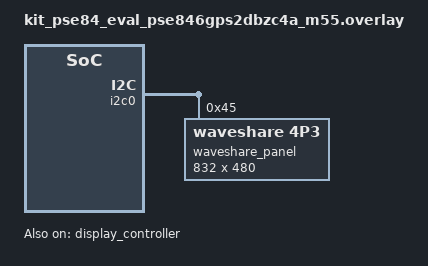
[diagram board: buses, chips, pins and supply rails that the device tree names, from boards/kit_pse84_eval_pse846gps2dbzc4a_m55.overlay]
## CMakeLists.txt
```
# SPDX-License-Identifier: Apache-2.0
#
# PSOC Edge E84 display smoke-test / LVGL demo - DevCon 2026 training branch.
#
# Build against the devcon-training-2026 mainline-based Zephyr branch
# (ClarkJ-Infineon/zephyr, or the devcon-training-2026 west manifest repo
# once published):
#
#   west build -b kit_pse84_eval/pse846gps2dbzc4a/m55 -p always -s <path-to-this-dir>
#
# See ../../README.md for the lab layout and
# outputs/zephyr/engineering/devcon-training-branch/plan.md for the full
# background on why this app exists (E84 display driver port).

cmake_minimum_required(VERSION 3.20.0)

find_package(Zephyr REQUIRED HINTS $ENV{ZEPHYR_BASE})
project(e84_display_lab)

target_sources(app PRIVATE src/main.c)
```

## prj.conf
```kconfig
# PSOC Edge E84 display smoke-test / LVGL demo - DevCon 2026 training branch.
#
# The infineon_dc display driver only supports whole-frame flushes (it swaps
# the entire frame buffer pointer rather than copying partial rects), so LVGL
# must be forced into full-refresh rendering mode - CONFIG_LV_Z_FULL_REFRESH
# below, not the Zephyr LVGL default (partial refresh). See
# modules/lvgl/Kconfig.memory for the choice and modules/lvgl/lvgl.c for how
# it maps to LV_DISPLAY_RENDER_MODE_FULL.
#
# Color depth is set to match the display_controller's input-pixel-format
# (PANEL_PIXEL_FORMAT_RGB_565) in the board overlay, avoiding an implicit
# LVGL-side conversion on every flush.
#
# A full-frame RGB565 buffer at 832x480 is ~781 KB, which does not fit in
# the M55 core's system RAM region. Placing it in the "GFX_MEMORY"
# zephyr,memory-region (the gfx_mem node the board overlay adds in SOCMEM)
# avoids the RAM overflow and matches what the DC hardware expects to read
# the framebuffer from anyway.

CONFIG_LV_Z_VDB_ZEPHYR_REGION=y
CONFIG_LV_Z_VDB_ZEPHYR_REGION_NAME="GFX_MEMORY"

# Two rendering buffers, not one. ifx_dc_write() does not copy pixels - it
# points the display controller straight at the buffer LVGL hands it
# (Cy_GFXSS_Set_FrameBuffer). With a single buffer that is the same memory the
# panel is actively scanning out, so LVGL's next full redraw repaints the
# screen underneath the scan and every element flickers once per update, even
# ones whose content did not change. Double buffering lets LVGL render into the
# idle buffer and the driver swap the pointer on flush, which is the model this
# hardware is built around. Costs a second 832x480x2 = 780 KB buffer, taking
# GFX_MEMORY to about 76% of its 2 MB.
CONFIG_LV_Z_DOUBLE_VDB=y

CONFIG_DISPLAY=y
CONFIG_DISPLAY_LOG_LEVEL_ERR=y

CONFIG_LOG=y
# Immediate mode so the build-stamp banner (see src/main.c) can never be lost
# to a deferred log ring buffer that doesn't get serviced if something early
# in the display init path hangs.
CONFIG_LOG_MODE_IMMEDIATE=y

CONFIG_LVGL=y
CONFIG_LV_Z_FULL_REFRESH=y
CONFIG_LV_COLOR_DEPTH_16=y
CONFIG_LV_Z_MEM_POOL_SIZE=16384
CONFIG_LV_USE_LOG=y
CONFIG_LV_USE_LABEL=y
CONFIG_LV_FONT_MONTSERRAT_14=y

CONFIG_MAIN_STACK_SIZE=4096
```

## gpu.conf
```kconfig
# GCNanoUltraV GPU-accelerated rendering, applied on top of prj.conf.
# Supersedes helium.conf.
#
#   west build -b kit_pse84_eval/pse846gps2dbzc4a/m55 -p always --sysbuild \
#       -DEXTRA_CONF_FILE=gpu.conf -DEXTRA_DTC_OVERLAY_FILE=gpu.overlay
#
# Both the config and the overlay are required - the overlay binds the GPU
# node and enlarges GFX_MEMORY for the vg_lite heap.
#
# Requires all three LVGL patches in zephyr/patches/.

CONFIG_SPEED_OPTIMIZATIONS=y
CONFIG_LV_Z_DOUBLE_VDB=y

CONFIG_LV_Z_VDB_ALIGN=64
CONFIG_LV_ATTRIBUTE_MEM_ALIGN_SIZE=64
CONFIG_LV_DRAW_BUF_ALIGN=64

# Helium (Armv8.1-M MVE) assembly blend kernels, for everything the GPU
# declines to draw.
CONFIG_LV_DRAW_SW_ASM_HELIUM=y
CONFIG_LV_USE_NATIVE_HELIUM_ASM=y

# Route LVGL drawing through the GCNanoUltraV via the vg_lite driver.
CONFIG_LV_USE_DRAW_VG_LITE=y
CONFIG_LV_USE_VG_LITE_DRIVER=y
CONFIG_LV_USE_VECTOR_GRAPHIC=y
CONFIG_LV_Z_VGLITE_HEAP_SIZE=786432
CONFIG_LV_Z_MEM_POOL_SIZE=524288

# The GPU pool is far too large for the M55 system RAM region, and the GPU
# has to be able to DMA out of it, so place it in GFX_MEMORY alongside the
# draw buffers. The baseline configuration leaves the much smaller default
# pool in system RAM.
CONFIG_LV_Z_MEMORY_POOL_ZEPHYR_REGION=y
CONFIG_LV_Z_MEMORY_POOL_ZEPHYR_REGION_NAME="GFX_MEMORY"
# vg_lite allocates a ~166 KB tessellation buffer. The small-only sys_heap
# format cannot serve a block of that size from this heap.
CONFIG_SYS_HEAP_AUTO=y

# The GCNanoUltraV rejects pattern blits whose source stride is not aligned
# to the bus width.
CONFIG_LV_DRAW_BUF_STRIDE_ALIGN=64

# The GPU cannot read image data from XIP QSPI flash. Caching decoded images
# in the LVGL pool places them in GPU-accessible SOCMEM.
CONFIG_LV_CACHE_DEF_SIZE=262144
CONFIG_LV_IMAGE_HEADER_CACHE_DEF_CNT=16
```

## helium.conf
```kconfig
# Helium (Armv8.1-M MVE) software rendering, applied on top of prj.conf.
#
#   west build -b kit_pse84_eval/pse846gps2dbzc4a/m55 -p always --sysbuild \
#       -DEXTRA_CONF_FILE=helium.conf
#
# Requires the LVGL patches in zephyr/patches/ - without patches 0001 and
# 0002 the Helium assembly sources fail to compile.

# -O2 rather than -Os. The rendering loop is the hot path and the image is
# well inside the available flash.
CONFIG_SPEED_OPTIMIZATIONS=y

# Two frame buffers. With a single buffer LVGL renders into the buffer the
# display controller is scanning out, so partially drawn frames reach the
# panel and appear as flashes during animation.
CONFIG_LV_Z_DOUBLE_VDB=y

# Match the draw buffers to the cache line so that blend loops operate on
# aligned words and the stride carries no padding.
CONFIG_LV_Z_VDB_ALIGN=64
CONFIG_LV_ATTRIBUTE_MEM_ALIGN_SIZE=64
CONFIG_LV_DRAW_BUF_ALIGN=64

# Select the MVE assembly blend kernels. Both symbols are required: the first
# selects the Helium backend, the second selects its hand-written assembly
# implementation over the C intrinsics path.
CONFIG_LV_DRAW_SW_ASM_HELIUM=y
CONFIG_LV_USE_NATIVE_HELIUM_ASM=y
```

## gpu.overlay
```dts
/*
 * GPU overlay for the E84 display lab. Use together with gpu.conf.
 *
 * Binds LVGL's vg_lite draw unit to the GCNanoUltraV and enlarges
 * GFX_MEMORY, which must now hold the vg_lite command and tessellation
 * heap alongside the draw buffers and the LVGL memory pool.
 */

/ {
	lvgl_vglite {
		compatible = "zephyr,lvgl-gpu-vglite";
		gpu = <&gcnano>;
		variant = "gcnanoultrav";
		revision = "0x1003";
	};
};

&gcnano {
	status = "okay";
};

/* 2 MB in the board overlay is enough for the plain framebuffer path only. */
&gfx_mem {
	reg = <0x26140000 DT_SIZE_K(3584)>;
};
```

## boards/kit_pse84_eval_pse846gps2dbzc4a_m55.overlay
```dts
/*
 * Copyright (c) 2026 Infineon Technologies AG,
 * or an affiliate of Infineon Technologies AG.
 *
 * SPDX-License-Identifier: Apache-2.0
 *
 * DevCon 2026 training branch: minimal E84 EVK display smoke-test overlay.
 * Wires the standard-issue Waveshare 4.3" DSI panel (800x480 active /
 * 832x480 total timing) via the infineon_dc display controller.
 *
 * I2C0 (scb0) is already enabled with clocks/pinctrl in
 * kit_pse84_eval_common.dtsi - only the panel child node is added here.
 *
 * Timing/wiring values confirmed against a known-working deployment of this
 * same driver + panel combination on real kit_pse84_eval/.../m55 hardware
 * (Infineon internal reference, GPU/vg_lite/audio/touch/video bits omitted -
 * out of scope for this training branch's display smoke test).
 */

#include <zephyr/dt-bindings/display/panel.h>
#include <zephyr/dt-bindings/clock/ifx_clock_source_common.h>
#include <zephyr/dt-bindings/memory-attr/memory-attr-arm.h>

/*
 * MIPI DSI PHY reference clock.
 *
 * clk_hf12 is not a peripheral bus clock - no IP in the PDL's MMIO table
 * claims it (GFXSS itself runs from CLK_HF1, which the board already
 * drives at the 400 MHz that display_infineon_dc.c's hardcoded
 * GFXSS_config.clockHz expects). It is the DSI PHY's PLL reference, and
 * like most DSI PHYs this one needs a reference in the ~25 MHz range.
 *
 * Both mainline and Infineon's downstream kit_pse84_eval_m33.dts leave
 * clk_hf12 on CLKPATH4, which has no DPLL attached and so falls back to
 * the 50 MHz IMO - too fast for the PHY to lock. Measured on hardware
 * with Cy_SysClk_ClkHfGetFrequency(). The failure is completely silent:
 * the display controller still raises frame-complete interrupts, panel
 * I2C still works, every init call still returns 0, and the only visible
 * symptom is that the panel's backlight never turns on (this panel gates
 * its backlight on locking to a valid video stream).
 *
 * CLKPATH3 divided by 2 gives 25 MHz. This matches the known-working
 * configuration used for the PSOC Edge graphics benchmarking work on this
 * same board and panel, which carried the identical app-level override.
 */
&clk_hf12 {
	status = "okay";
	source-path = <IFX_CLK_HF_IN_CLKPATH3>;
	clock-div = <IFX_CLK_HF_DIVIDE_BY_2>;
};

/ {
	chosen {
		zephyr,display = &display_controller;
	};

	soc {
		/*
		 * display_infineon_dc.c hard-codes a reference to a DT
		 * nodelabel literally named "gfx_mem" (GFX_BUF_ADDR_BASE =
		 * DT_REG_ADDR(DT_NODELABEL(gfx_mem))) for its frame buffer.
		 * Mainline's kit_pse84_eval board files never carried this
		 * node over from Infineon's downstream fork (only m55_data,
		 * 256 KB at 0x26100000, is reserved there) - add it here.
		 * SOCMEM is 0x26000000..0x26500000 (5 MB); this carves out
		 * 2 MB starting right after m55_data, well clear of the 5 MB
		 * bound. No GPU/vg_lite in this smoke test, so the whole
		 * region is available to the DC's plain framebuffer.
		 */
		gfx_mem: memory@26140000 {
			compatible = "zephyr,memory-region", "mmio-sram";
			zephyr,memory-region = "GFX_MEMORY";
			reg = <0x26140000 DT_SIZE_M(2)>;

			/*
			 * The display controller DMAs the frame buffer
			 * straight out of SOCMEM while the CM55 renders into
			 * it through its D-cache, so this region has to be
			 * mapped non-cacheable or the DC scans out whatever
			 * stale contents SOCMEM happens to hold - the dirty
			 * cache lines may never be written back. The symptom
			 * is garbled/torn output with an otherwise perfectly
			 * healthy pipeline (DC interrupts firing, every flush
			 * returning success).
			 *
			 * Infineon's downstream fork solves this with a
			 * bespoke ".cy_gpu_buf" non-cacheable linker section,
			 * which mainline has no equivalent of. The portable
			 * way is the standard memory-attr binding.
			 */
			zephyr,memory-attr = <DT_MEM_ARM(ATTR_MPU_RAM_NOCACHE)>;
		};
	};
};

&i2c0 {
	waveshare_panel: waveshare_panel@45 {
		compatible = "waveshare,4p3";
		reg = <0x45>;
		status = "okay";
		pixel-format = <PANEL_PIXEL_FORMAT_RGB_888>;
		height = <480>;
		width = <832>;
	};
};

&display_controller {
	status = "okay";

	height = <480>;
	width = <832>;

	pixel-clock-khz = <33768>;
	hsync-width = <10>;
	hfp = <210>;
	hbp = <20>;
	vsync-width = <5>;
	vfp = <20>;
	vbp = <20>;

	data-lanes = <1>;
	per-lane-mbps = <810>;

	input-pixel-format = <PANEL_PIXEL_FORMAT_RGB_565>;
	panel = <&waveshare_panel>;
};
```

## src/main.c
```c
/*
 * Copyright (c) 2026 Infineon Technologies AG,
 * or an affiliate of Infineon Technologies AG.
 *
 * SPDX-License-Identifier: Apache-2.0
 *
 * PSOC Edge E84 display smoke-test for the DevCon 2026 training branch.
 * Confirms the ported infineon_dc display controller driver + Waveshare
 * 4.3" DSI panel (waveshare,4p3) are working end-to-end: initializes the
 * display, draws a label, and updates a counter every second so the panel
 * is visibly live (not just a static frame left over from a bootloader
 * splash). This is a smoke test, not a feature demo - keep it minimal.
 */

#include <zephyr/device.h>
#include <zephyr/devicetree.h>
#include <zephyr/drivers/display.h>
#include <zephyr/kernel.h>
#include <lvgl.h>
#include <stdio.h>

#include <zephyr/logging/log.h>
LOG_MODULE_REGISTER(e84_display_lab);

int main(void)
{
	const struct device *display_dev;
	lv_obj_t *title_label;
	lv_obj_t *count_label;
	/*
	 * Sized for the longest string this can ever produce, not the shortest.
	 * "Uptime: " is 8 characters, so an 11-byte buffer holds only 10 plus
	 * the terminator and snprintf() silently truncates from 10 s onward.
	 * Truncation is easy to miss because it eats the trailing 's' first and
	 * only later the digits, so the counter appears to stall for longer and
	 * longer stretches as uptime grows - at a 4-digit uptime the visible
	 * text changes once every 100 s, which reads as a frozen display rather
	 * than a formatting bug.
	 */
	char count_str[32];
	uint32_t seconds = 0;
	int ret;

	/*
	 * Per-build stamp, logged before anything else runs.
	 *
	 * OpenOCD's write_image + verify_image path can report success on this
	 * chip family while leaving the previous image running, so a clean
	 * programmer log is not evidence that a flash landed. The Zephyr
	 * kernel build-ID banner cannot close that gap either, because it is
	 * identical for every build of the same commit. A compile timestamp
	 * changes on every rebuild and can be cross-checked against the ELF's
	 * mtime, which makes it the one value that identifies the running
	 * image. Requires a pristine build (west build -p always) to update.
	 */
	LOG_INF("e84-display-lab build stamp: " __DATE__ " " __TIME__);

	display_dev = DEVICE_DT_GET(DT_CHOSEN(zephyr_display));
	if (!device_is_ready(display_dev)) {
		LOG_ERR("Display device not ready");
		return 0;
	}
	LOG_INF("display device %s ready", display_dev->name);

	title_label = lv_label_create(lv_screen_active());
	lv_label_set_text(title_label, "DevCon 2026 - PSOC Edge E84 Display Lab");
	lv_obj_align(title_label, LV_ALIGN_CENTER, 0, -20);

	count_label = lv_label_create(lv_screen_active());
	lv_obj_align(count_label, LV_ALIGN_CENTER, 0, 20);

	/*
	 * Progress logging around each step that can block. ifx_dc_write()
	 * ends in k_sem_take(&dc_sem, K_FOREVER) waiting on a display-
	 * controller frame-complete interrupt, so a misconfigured GFXSS clock
	 * tree makes the first flush block forever without reporting an error.
	 * These markers separate that case from one where frames are flushing
	 * but nothing is visible on the panel.
	 */
	LOG_INF("first flush (expected to be discarded by the driver)");
	lv_timer_handler();
	LOG_INF("first flush returned");

	ret = display_blanking_off(display_dev);
	if (ret < 0 && ret != -ENOSYS) {
		LOG_ERR("Failed to turn blanking off (error %d)", ret);
		return 0;
	}
	LOG_INF("blanking off (ret %d)", ret);

	/*
	 * Explicit brightness write. The Waveshare panel's backlight is
	 * driven entirely over I2C (brightness register 0x86), independent
	 * of the MIPI DSI video link, so this is the one call that proves
	 * host-to-panel I2C control actually reaches the panel - a dark
	 * backlight with a passing return code here means the I2C write is
	 * being acknowledged by something that is not the panel.
	 */
	ret = display_set_brightness(display_dev, 255);
	LOG_INF("set_brightness(255) ret %d", ret);

	while (1) {
		snprintf(count_str, sizeof(count_str), "Uptime: %us", seconds);
		lv_label_set_text(count_label, count_str);
		lv_timer_handler();
		LOG_INF("frame %u flushed", seconds);
		k_sleep(K_SECONDS(1));
		seconds++;
	}
}
```
